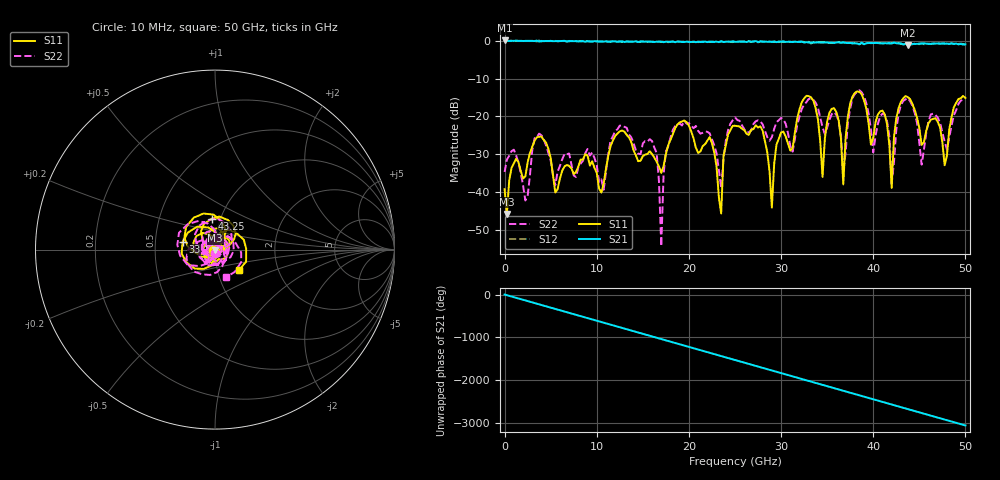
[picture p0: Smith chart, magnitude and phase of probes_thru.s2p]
!Agilent Technologies,E8364C,MY43040861,A.09.42.22
!Agilent E8364C: A.09.42.22
!Date: Tuesday, October 31, 2023 13:58:35
!Correction: S11(Full 2 Port(1,2))
!S21(Full 2 Port(1,2))
!S12(Full 2 Port(1,2))
!S22(Full 2 Port(1,2))
!S2P File: Measurements: S11, S21, S12, S22:
# Hz S  RI  R 50
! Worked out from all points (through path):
!   201 points, 10 MHz to 50 GHz, reference 50 ohm
!   highest |S21| = 0.06 dB at 10 MHz (marker M1); lowest = -1.1 dB at 43.75 GHz (marker M2)
!   group delay of S21, straight-line fit = 169 ps
!   lowest |S11| = -45.8 dB at 259.9 MHz (marker M3), VSWR 1.01, Z = 50.1 - j0.502 ohm
!   |S11| at or under -10 dB: start of sweep to end of sweep
!   |S22| runs from -54.3 to -13.1 dB; largest |S21 - S12| = 0.044
!   S11 on the Smith chart (normalised r, x): 10 MHz: 0.98, -0.00; 33 GHz: 0.69, +0.06; 43.25 GHz: 0.91, +0.32; 50 GHz: 1.26, -0.30
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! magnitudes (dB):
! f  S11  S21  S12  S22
! 10 MHz  -39.2  0.1  0.0  -34.7
! 259.9 MHz  -45.8  0.0  0.0  -31.4
! 8.508 GHz  -31.4  -0.1  -0.2  -31.8
! 16.76 GHz  -33.2  -0.3  -0.2  -37.2
! 17.01 GHz  -34.9  -0.2  -0.3  -54.3
! 18.26 GHz  -24.7  -0.2  -0.2  -23.6
! 22.26 GHz  -25.5  -0.3  -0.3  -24.5
! 23.51 GHz  -45.7  -0.1  -0.2  -39.0
! 25 GHz  -22.5  -0.3  -0.2  -20.2
! 28 GHz  -23.8  -0.2  -0.3  -22.1
! 29 GHz  -44.1  -0.3  -0.3  -25.5
! 33 GHz  -14.6  -0.5  -0.3  -15.4
! 33.5 GHz  -15.8  -0.5  -0.4  -15.6
! 34.5 GHz  -36.0  -0.5  -0.4  -22.9
! 35.75 GHz  -17.8  -0.6  -0.5  -18.9
! 36.75 GHz  -38.0  -0.4  -0.5  -34.6
! 38.25 GHz  -13.4  -0.7  -0.8  -13.5
! 41.75 GHz  -27.5  -0.6  -0.8  -25.3
! 43.25 GHz  -15.2  -1.0  -0.9  -15.9
! 43.75 GHz  -14.9  -1.1  -1.0  -15.2
! 47.75 GHz  -32.9  -0.8  -0.6  -26.6
! 50 GHz  -15.1  -1.0  -1.0  -15.6
